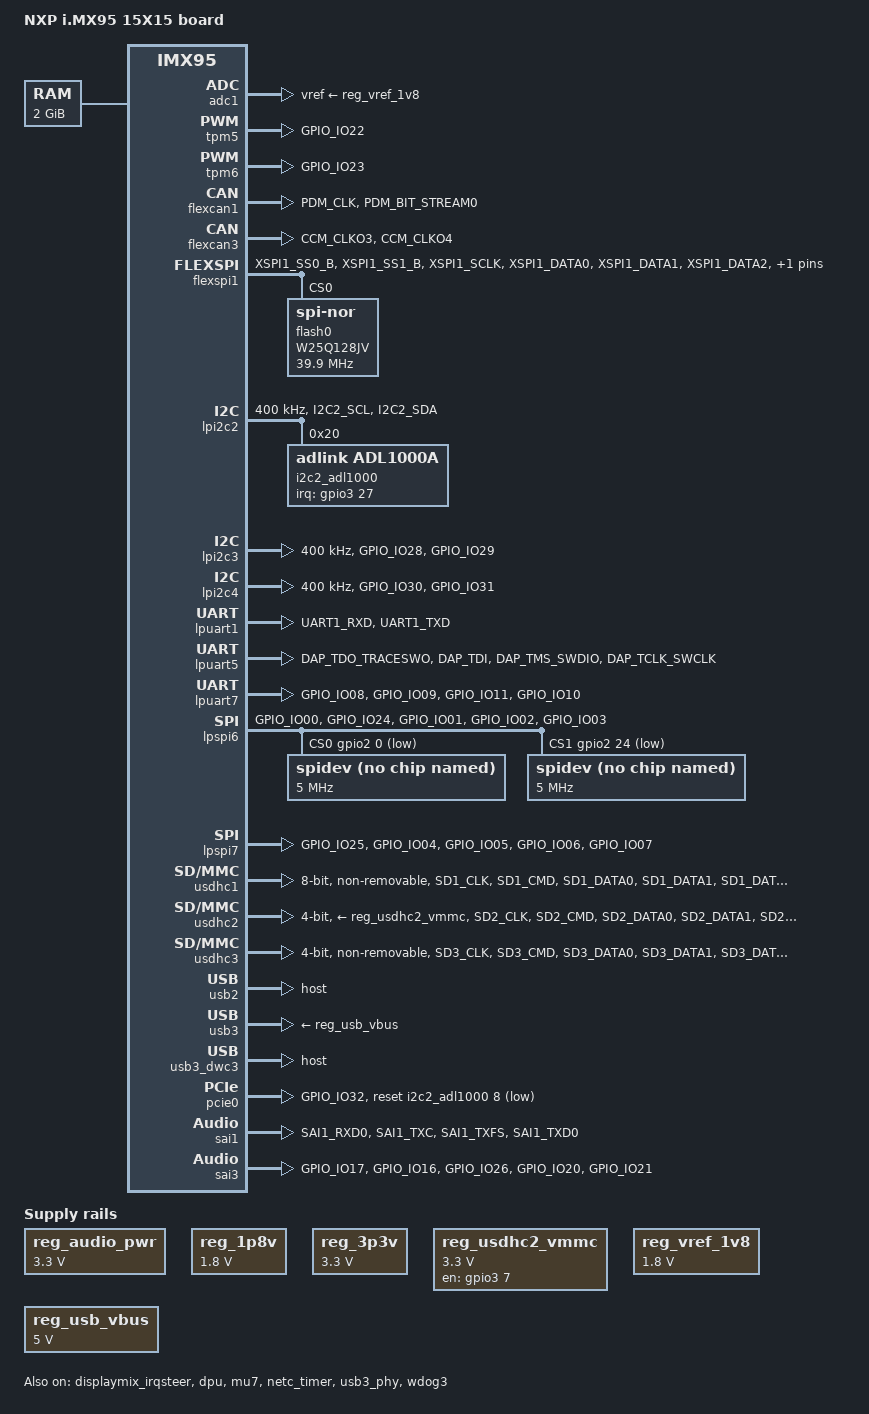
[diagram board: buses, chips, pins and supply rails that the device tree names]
// SPDX-License-Identifier: (GPL-2.0+ OR MIT)
/*
 * Copyright 2024 NXP
 */

/dts-v1/;

#include <dt-bindings/leds/common.h>
#include <dt-bindings/phy/phy-imx8-pcie.h>
#include <dt-bindings/pwm/pwm.h>
#include <dt-bindings/usb/pd.h>
#include "imx95.dtsi"

#define FALLING_EDGE		BIT(0)
#define RISING_EDGE		BIT(1)

//#define BRD_SM_CTRL_SD3_WAKE		0x8000	/*!< PCAL6408A-0 */
#define BRD_SM_CTRL_PCIE1_WAKE		0x8001	/*!< PCAL6408A-4 */
//#define BRD_SM_CTRL_BT_WAKE		0x8002	/*!< PCAL6408A-5 */
//#define BRD_SM_CTRL_PCIE2_WAKE		0x8003	/*!< PCAL6408A-6 */
//#define BRD_SM_CTRL_BUTTON		0x8004	/*!< PCAL6408A-7 */

/ {
	model = "NXP i.MX95 15X15 board";
	compatible = "fsl,imx95-15x15-evk", "fsl,imx95";

	aliases {
		ethernet0 = &enetc_port0;
		ethernet1 = &enetc_port1;
	};

	chosen {
		stdout-path = &lpuart1;
		#address-cells = <2>;
		#size-cells = <2>;
	};
/*
	fan0: pwm-fan {
		compatible = "pwm-fan";
		cooling-min-state = <0>;
		cooling-max-state = <3>;
		#cooling-cells = <2>;
		pwms = <&tpm6 0 4000000 PWM_POLARITY_INVERTED>;
		cooling-levels = <64 128 192 255>;
	};
*/
	memory@80000000 {
		device_type = "memory";
		reg = <0x0 0x80000000 0 0x80000000>;
	};

	reserved-memory {
		#address-cells = <2>;
		#size-cells = <2>;
		ranges;

		linux_cma: linux,cma {
			compatible = "shared-dma-pool";
			reusable;
			size = <0 0x3c000000>;
			alloc-ranges = <0 0x80000000 0 0x7F000000>;
			linux,cma-default;
		};

		vpu_boot: vpu_boot@a0000000 {
			reg = <0 0xa0000000 0 0x100000>;
			no-map;
		};

		vdev0vring0: vdev0vring0@88000000 {
			reg = <0 0x88000000 0 0x8000>;
			no-map;
		};

		vdev0vring1: vdev0vring1@88008000 {
			reg = <0 0x88008000 0 0x8000>;
			no-map;
		};

		vdev1vring0: vdev1vring0@88010000 {
			reg = <0 0x88010000 0 0x8000>;
			no-map;
		};

		vdev1vring1: vdev1vring1@88018000 {
			reg = <0 0x88018000 0 0x8000>;
			no-map;
		};

		rsc_table: rsc-table@88220000 {
			reg = <0 0x88220000 0 0x1000>;
			no-map;
		};

		vdevbuffer: vdevbuffer@88020000 {
			compatible = "shared-dma-pool";
			reg = <0 0x88020000 0 0x100000>;
			no-map;
		};
	};

	reg_audio_pwr: regulator-audio-pwr {
		compatible = "regulator-fixed";
		regulator-name = "audio-pwr";
		regulator-min-microvolt = <3300000>;
		regulator-max-microvolt = <3300000>;
//		gpio = <&pcal6524 13 GPIO_ACTIVE_HIGH>;
		enable-active-high;
		regulator-always-on;
	};

	reg_1p8v: regulator-1p8v {
		compatible = "regulator-fixed";
		regulator-max-microvolt = <1800000>;
		regulator-min-microvolt = <1800000>;
		regulator-name = "+V1.8_SW";
	};

	reg_3p3v: regulator-3p3v {
		compatible = "regulator-fixed";
		regulator-max-microvolt = <3300000>;
		regulator-min-microvolt = <3300000>;
		regulator-name = "+V3.3_SW";
	};

	reg_usdhc2_vmmc: regulator-usdhc2 {
		compatible = "regulator-fixed";
		pinctrl-names = "default";
		pinctrl-0 = <&pinctrl_reg_usdhc2_vmmc>;
		regulator-name = "VDD_SD2_3V3";
		regulator-min-microvolt = <3300000>;
		regulator-max-microvolt = <3300000>;
		gpio = <&gpio3 7 GPIO_ACTIVE_HIGH>;
		off-on-delay-us = <12000>;
		enable-active-high;
	};

	reg_vref_1v8: regulator-adc-vref {
		compatible = "regulator-fixed";
		regulator-name = "vref_1v8";
		regulator-min-microvolt = <1800000>;
		regulator-max-microvolt = <1800000>;
	};

	reg_usb_vbus: regulator-vbus {
		compatible = "regulator-fixed";
		regulator-name = "USB_VBUS";
		regulator-min-microvolt = <5000000>;
		regulator-max-microvolt = <5000000>;
		enable-active-high;
		regulator-always-on;
	};

	cm7: imx95-cm7 {
		compatible = "fsl,imx95-cm7";
		mbox-names = "tx", "rx", "rxdb";
		mboxes = <&mu7 0 1
			  &mu7 1 1
			  &mu7 3 1>;
		memory-region = <&vdevbuffer>, <&vdev0vring0>, <&vdev0vring1>,
				<&vdev1vring0>, <&vdev1vring1>, <&rsc_table>;
		fsl,startup-delay-ms = <50>;
		status = "okay";
	};

};

&adc1 {
	vref-supply = <&reg_vref_1v8>;
	status = "okay";
};

&displaymix_irqsteer {
	status = "okay";
};

&dpu {
	status = "okay";
};

&tpm5 {
	pinctrl-names = "default";
	pinctrl-0 = <&pinctrl_tpm5>;
	pwm-rst;
	status = "okay";
};

&tpm6 {
	pinctrl-names = "default";
	pinctrl-0 = <&pinctrl_tpm6>;
	pwm-rst;
	status = "okay";
};

//OSM CAN_A
&flexcan1 {
	pinctrl-names = "default";
	pinctrl-0 = <&pinctrl_flexcan1>;
	status = "okay";
};

//OSM CAN_B
&flexcan3 {
	pinctrl-names = "default";
	pinctrl-0 = <&pinctrl_flexcan3>;
	status = "okay";
};
//OSM SPI_A
&flexspi1 {
	pinctrl-names = "default", "sleep";
	pinctrl-0 = <&pinctrl_flexspi1>;
	pinctrl-1 = <&pinctrl_flexspi1>;
	status = "okay";

	flash0: W25Q128JV@0 {
		reg = <0>;
		#address-cells = <1>;
		#size-cells = <1>;
		compatible = "jedec,spi-nor";
		spi-max-frequency = <39900000>;
		//spi-max-frequency = <3990000>;
		spi-tx-bus-width = <4>;
		spi-rx-bus-width = <4>;
	};	
};

&lpi2c2 {
	#address-cells = <1>;
	#size-cells = <0>;
	clock-frequency = <400000>;
	pinctrl-names = "default";
	pinctrl-0 = <&pinctrl_lpi2c2>;
	status = "okay";

	//U1701
	i2c2_adl1000: i2c2_adl1000@20 {
		compatible = "adlink,adl1000a";//16 pin
		pinctrl-names = "default";
		//interrupt pin A3, A4, B0, B1, B2, B5, B6, B10, B11, B12, B13, B14, B15
		//INT : PC2 , SCL : PB8 , SDA : PB9
		/* GPIO Expander  Mapping :
		 * - 0: PA2 		GPIO_B2_1V8			=>			OSM F19 GPIO_B_2
		 * - 1: PA3 		GPIO_B3_1V8			=>			OSM G19 GPIO_B_3
		 * - 2: PA4			GPIO_B4_1V8			=>			OSM H19 GPIO_B_4
		 * - 3: PA7 		GPIO_B5_1V8			=>			OSM J19 GPIO_B_5
		 * - 4: PA8 		GPIO_B6_1V8			=>			OSM K19 GPIO_B_6
		 * - 5: PA9 		GPIO_B7_1V8			=>			OSM L19 GPIO_B_7
		 * - 6: x
		 * - 7: x

		 * - 8: PB5 		PCIEA_RST#_1V8	    => 			OSM V2 PCIe_A_PERST
		 * - 9: PB6 		USB_A_EN_1V8		=>			OSM AC16 USB_A_EN
		 * - 10: PB10 		DSI_VDD_EN_1V8		=>			OSM F3 DISP_VDD_EN/GPIO_C_4
		 * - 11: PB11 		DSI_BL_EN_1V8		=> 			OSM F4 DISP_BL_EN/GPIO_C_5
		 * - 12: PB12 		CSI1_PWR_1V8		=> 			OSM G3 CAM_A_PWR/GPIO_C_6
		 * - 13: PB13 		CSI1_RST_1V8		=>  		OSM G4 CAM_A_RST/GPIO_C_7
		 * - 14: PB14 		LVDS0_VDD_EN_1V8	=>			OSM AN14 LVDS_VDD_EN
		 * - 15: PB15 		LVDS0_BKLT_EN_1V8	=>			OSM AN23 LVDS_BL_EN

		 * - 16: x
		 * - 17: x
		 * - 18: x
		 * - 19: x
		 * - 20: x
		 * - 21: x
		 * - 22: x
		 * - 23: x
		 */
		pinctrl-0 = <&pinctrl_i2c2_adl1000>, <&pinctrl_system_gpio>;
		reg = <0x20>;
		#gpio-cells = <2>;		
		gpio-controller;
		#interrupt-cells = <2>;
		interrupt-controller;
		interrupt-parent = <&gpio3>;
		interrupts = <27 IRQ_TYPE_EDGE_FALLING>; // MCU_INTB#_1V8 , PC2
	};
};
//OSM I2C_A
&lpi2c3 {
	#address-cells = <1>;
	#size-cells = <0>;
	clock-frequency = <400000>;
	pinctrl-names = "default";
	pinctrl-0 = <&pinctrl_lpi2c3>;
	status = "okay";




};
//OSM I2C_B
&lpi2c4 {
	#address-cells = <1>;
	#size-cells = <0>;
	clock-frequency = <400000>;
	pinctrl-names = "default";
	pinctrl-0 = <&pinctrl_lpi2c4>;
	status = "okay";

};

&lpuart1 {
	/* console */
	pinctrl-names = "default";
	pinctrl-0 = <&pinctrl_uart1>;
	status = "okay";
};
//EB4 UART_C
&lpuart2 {
	pinctrl-names = "default";
	pinctrl-0 = <&pinctrl_uart2>;
	status = "disabled";
};
//EB$ UART_D
&lpuart3 {
	pinctrl-names = "default";
	pinctrl-0 = <&pinctrl_uart3>;
	status = "disabled";
};
//EB4 UART_B
&lpuart5 {
	pinctrl-names = "default";
	pinctrl-0 = <&pinctrl_uart5>;
	status = "okay";
};

//EB4 UART_A , 88w8997-bt
&lpuart7 {
	/* BT */
	pinctrl-names = "default";
	pinctrl-0 = <&pinctrl_uart7>;
	status = "okay";
};

//OSM SPI_B
&lpspi6 {
	fsl,spi-num-chipselects = <2>;
	pinctrl-names = "default", "sleep";
	pinctrl-0 = <&pinctrl_lpspi6>;
	pinctrl-1 = <&pinctrl_lpspi6>;
	cs-gpios = <&gpio2 0 GPIO_ACTIVE_LOW>,<&gpio2 24 GPIO_ACTIVE_LOW>;
	status = "okay";
        spidev@0 {
                compatible = "rohm,dh2228fv";
                spi-max-frequency = <5000000>;
                reg = <0>;
        };
        spidev@1 {
                compatible = "rohm,dh2228fv";
                spi-max-frequency = <5000000>;
                reg = <1>;
	};

};

//OSM SPI_C
&lpspi7 {
	fsl,spi-num-chipselects = <2>;
	pinctrl-names = "default", "sleep";
	pinctrl-0 = <&pinctrl_lpspi7>;
	pinctrl-1 = <&pinctrl_lpspi7>;
	cs-gpios = <&gpio2 4 GPIO_ACTIVE_LOW>,<&gpio2 25 GPIO_ACTIVE_LOW>;
	status = "okay";

};

&mu7 {
	status = "okay";
};
//U1301 PTE7ADTO-64GI EMMC
&usdhc1 {
	pinctrl-names = "default", "state_100mhz", "state_200mhz", "sleep";
	pinctrl-0 = <&pinctrl_usdhc1>;
	pinctrl-1 = <&pinctrl_usdhc1_100mhz>;
	pinctrl-2 = <&pinctrl_usdhc1_200mhz>;
	pinctrl-3 = <&pinctrl_usdhc1>;
	bus-width = <8>;
	non-removable;
	no-sdio;
	no-sd;
	status = "okay";
};
//sdio_a , sd card
&usdhc2 {
	pinctrl-names = "default", "state_100mhz", "state_200mhz", "sleep";
	pinctrl-0 = <&pinctrl_usdhc2>, <&pinctrl_usdhc2_gpio>;
	pinctrl-1 = <&pinctrl_usdhc2_100mhz>, <&pinctrl_usdhc2_gpio>;
	pinctrl-2 = <&pinctrl_usdhc2_200mhz>, <&pinctrl_usdhc2_gpio>;
	pinctrl-3 = <&pinctrl_usdhc2>, <&pinctrl_usdhc2_gpio>;
	cd-gpios = <&gpio3 00 GPIO_ACTIVE_LOW>;
	fsl,cd-gpio-wakeup-disable;
	//wp-gpios = <&gpio5 8 GPIO_ACTIVE_HIGH>;
	vmmc-supply = <&reg_usdhc2_vmmc>;
	bus-width = <4>;
	status = "okay";
};
//sdio_b , EB4: wifi aw-cm276nf
&usdhc3 {
	#address-cells = <1>;
	#size-cells = <0>;
	pinctrl-names = "default", "state_100mhz", "state_200mhz", "sleep";
	pinctrl-0 = <&pinctrl_usdhc3>;
	pinctrl-1 = <&pinctrl_usdhc3_100mhz>;
	pinctrl-2 = <&pinctrl_usdhc3_200mhz>;
	pinctrl-3 = <&pinctrl_usdhc3>;

	//vmmc-supply = <&reg_usdhc3_vmmc>;
	bus-width = <4>;
	keep-power-in-suspend;
	non-removable;
	wakeup-source;
	status = "okay";
};

&pcie_4ca00000 {
	msi-map = <0x0 &its 0x60 0x1>,	//ENETC0 PF
		  <0x10 &its 0x61 0x1>, //ENETC0 VF0
		  <0x20 &its 0x62 0x1>, //ENETC0 VF1
		  <0x40 &its 0x63 0x1>, //ENETC1 PF
		  <0x50 &its 0x65 0x1>, //ENETC1 VF0
		  <0x60 &its 0x66 0x1>, //ENETC1 VF1
		  <0x80 &its 0x64 0x1>, //ENETC2 PF
		  <0xc0 &its 0x67 0x1>; //NETC Timer
};

&netc_timer {
	status = "okay";
};

&netc_prb_ierb {
	netc-interfaces = <NXP_NETC_RGMII
			   NXP_NETC_RGMII
			   NXP_NETC_SERIAL>;
};

&usb2 {
	dr_mode = "host";
	disable-over-current;
	status = "okay";
};

&usb3 {
	vbus-supply = <&reg_usb_vbus>;
	status = "okay";
};

&usb3_phy {
	fsl,phy-pcs-tx-deemph-3p5db-attenuation-db = <17>;
	fsl,phy-pcs-tx-swing-full-percent = <100>;
	fsl,phy-tx-preemp-amp-tune-microamp = <600>;
	fsl,phy-tx-vboost-level-microvolt = <1156>;
	status = "okay";
};

&usb3_dwc3 {
	dr_mode = "host";
	hnp-disable;
	srp-disable;
	adp-disable;
	usb-role-switch;
	role-switch-default-mode = "none";
	snps,dis-u1-entry-quirk;
	snps,dis-u2-entry-quirk;
	status = "okay";
};

&scmi_misc {
	wakeup-sources = <BRD_SM_CTRL_PCIE1_WAKE		1>;
};

&scmi_iomuxc {

	pinctrl_tpm5: tpm5grp {
		fsl,pins = <
			IMX95_PAD_GPIO_IO22__TPM5_CH1			0x51e
		>;
	};

	pinctrl_tpm6: tpm6grp {
		fsl,pins = <
			IMX95_PAD_GPIO_IO23__TPM6_CH1			0x51e
		>;
	};

	pinctrl_flexcan1: flexcan1grp {
		fsl,pins = <
			IMX95_PAD_PDM_CLK__AONMIX_TOP_CAN1_TX		0x39e
			IMX95_PAD_PDM_BIT_STREAM0__AONMIX_TOP_CAN1_RX	0x39e
		>;
	};

	pinctrl_flexcan3: flexcan3grp {
		fsl,pins = <
			IMX95_PAD_CCM_CLKO3__CAN3_TX		0x39e
			IMX95_PAD_CCM_CLKO4__CAN3_RX	0x39e
		>;
	};

	pinctrl_i2c2_adl1000: i2c2adl1000grp {
		fsl,pins = <
			IMX95_PAD_CCM_CLKO2__GPIO3_IO_BIT27			0x1fe	//not pull down,not pull up ,Fast slew rate, drive X6
		>;
	};
	pinctrl_system_gpio: i2c2systemgrp {
		fsl,pins = <
			//GPIO_A0_1V8
			IMX95_PAD_GPIO_IO18__GPIO2_IO_BIT18				0x1fe	//not pull down,not pull up ,Fast slew rate, drive X6
			//GPIO_A1_1V8
			IMX95_PAD_GPIO_IO19__GPIO2_IO_BIT19				0x1fe	//not pull down,not pull up ,Fast slew rate, drive X6
			//GPIO_A2_1V8
			IMX95_PAD_GPIO_IO33__GPIO5_IO_BIT13				0x1fe	//not pull down,not pull up ,Fast slew rate, drive X6
			//GPIO_A3_1V8
			IMX95_PAD_GPIO_IO34__GPIO5_IO_BIT14				0x1fe	//not pull down,not pull up ,Fast slew rate, drive X6
			//GPIO_A4_1V8
			IMX95_PAD_XSPI1_DATA4__GPIO5_IO_BIT4			0x1fe	//not pull down,not pull up ,Fast slew rate, drive X6
			//GPIO_A5_1V8
			IMX95_PAD_XSPI1_DATA5__GPIO5_IO_BIT5			0x1fe	//not pull down,not pull up ,Fast slew rate, drive X6
			//GPIO_B0_1V8
			IMX95_PAD_XSPI1_DATA6__GPIO5_IO_BIT6			0x1fe	//not pull down,not pull up ,Fast slew rate, drive X6
			//GPIO_B1_1V8
			IMX95_PAD_XSPI1_DATA7__GPIO5_IO_BIT7			0x1fe	//not pull down,not pull up ,Fast slew rate, drive X6
			//USB1_OC#_1V8
			IMX95_PAD_ENET2_MDC__GPIO4_IO_BIT14				0x1fe	//not pull down,not pull up ,Fast slew rate, drive X6
			//USB2_OC#_1V8
			IMX95_PAD_ENET2_MDIO__GPIO4_IO_BIT15			0x1fe	//not pull down,not pull up ,Fast slew rate, drive X6
		>;
	};	

	pinctrl_lpi2c1: lpi2c1grp {
		fsl,pins = <
			IMX95_PAD_I2C1_SCL__AONMIX_TOP_LPI2C1_SCL	0x40000b9e
			IMX95_PAD_I2C1_SDA__AONMIX_TOP_LPI2C1_SDA	0x40000b9e
		>;
	};

	pinctrl_lpi2c2: lpi2c2grp {
		fsl,pins = <
			IMX95_PAD_I2C2_SCL__AONMIX_TOP_LPI2C2_SCL	0x40000b9e
			IMX95_PAD_I2C2_SDA__AONMIX_TOP_LPI2C2_SDA	0x40000b9e
		>;
	};

	pinctrl_lpi2c3: lpi2c3grp {
		fsl,pins = <
			IMX95_PAD_GPIO_IO28__LPI2C3_SDA			0x40000b9e
			IMX95_PAD_GPIO_IO29__LPI2C3_SCL			0x40000b9e
		>;
	};

	pinctrl_lpi2c4: lpi2c4grp {
		fsl,pins = <
			IMX95_PAD_GPIO_IO30__LPI2C4_SDA			0x40000b9e
			IMX95_PAD_GPIO_IO31__LPI2C4_SCL			0x40000b9e
		>;
	};

	pinctrl_uart1: uart1grp {
		fsl,pins = <
			IMX95_PAD_UART1_RXD__AONMIX_TOP_LPUART1_RX      0x31e
			IMX95_PAD_UART1_TXD__AONMIX_TOP_LPUART1_TX      0x31e
		>;
	};

	pinctrl_uart2: uart2grp {
		fsl,pins = <
			IMX95_PAD_UART2_RXD__AONMIX_TOP_LPUART2_RX      0x31e
			IMX95_PAD_UART2_TXD__AONMIX_TOP_LPUART2_TX      0x31e
		>;
	};

	pinctrl_uart3: uart3grp {
		fsl,pins = <
			IMX95_PAD_GPIO_IO15__LPUART3_RX      0x31e
			IMX95_PAD_GPIO_IO14__LPUART3_TX      0x31e
		>;
	};

	pinctrl_uart5: uart5grp {
		fsl,pins = <
			IMX95_PAD_DAP_TDO_TRACESWO__LPUART5_TX			0x31e
			IMX95_PAD_DAP_TDI__LPUART5_RX				0x31e
			IMX95_PAD_DAP_TMS_SWDIO__LPUART5_RTS_B			0x31e
			IMX95_PAD_DAP_TCLK_SWCLK__LPUART5_CTS_B			0x31e
		>;
	};
	
	pinctrl_uart7: uart7grp {
		fsl,pins = <
			IMX95_PAD_GPIO_IO08__LPUART7_TX			0x31e
			IMX95_PAD_GPIO_IO09__LPUART7_RX				0x31e
			IMX95_PAD_GPIO_IO11__LPUART7_RTS_B			0x31e
			IMX95_PAD_GPIO_IO10__LPUART7_CTS_B			0x31e
		>;
	};	

	pinctrl_enetc0: enetc0grp {
		fsl,pins = <
			IMX95_PAD_ENET1_TD3__NETCMIX_TOP_ETH0_RGMII_TD3		0x57e
			IMX95_PAD_ENET1_TD2__NETCMIX_TOP_ETH0_RGMII_TD2		0x57e
			IMX95_PAD_ENET1_TD1__NETCMIX_TOP_ETH0_RGMII_TD1		0x57e
			IMX95_PAD_ENET1_TD0__NETCMIX_TOP_ETH0_RGMII_TD0		0x57e
			IMX95_PAD_ENET1_TX_CTL__NETCMIX_TOP_ETH0_RGMII_TX_CTL	0x57e
			IMX95_PAD_ENET1_TXC__NETCMIX_TOP_ETH0_RGMII_TX_CLK	0x58e
			IMX95_PAD_ENET1_RX_CTL__NETCMIX_TOP_ETH0_RGMII_RX_CTL	0x57e
			IMX95_PAD_ENET1_RXC__NETCMIX_TOP_ETH0_RGMII_RX_CLK	0x58e
			IMX95_PAD_ENET1_RD0__NETCMIX_TOP_ETH0_RGMII_RD0		0x57e
			IMX95_PAD_ENET1_RD1__NETCMIX_TOP_ETH0_RGMII_RD1		0x57e
			IMX95_PAD_ENET1_RD2__NETCMIX_TOP_ETH0_RGMII_RD2		0x57e
			IMX95_PAD_ENET1_RD3__NETCMIX_TOP_ETH0_RGMII_RD3		0x57e
		>;
	};

	pinctrl_enetc1: enetc1grp {
		fsl,pins = <
			IMX95_PAD_ENET2_TD3__NETCMIX_TOP_ETH1_RGMII_TD3		0x57e
			IMX95_PAD_ENET2_TD2__NETCMIX_TOP_ETH1_RGMII_TD2		0x57e
			IMX95_PAD_ENET2_TD1__NETCMIX_TOP_ETH1_RGMII_TD1		0x57e
			IMX95_PAD_ENET2_TD0__NETCMIX_TOP_ETH1_RGMII_TD0		0x57e
			IMX95_PAD_ENET2_TX_CTL__NETCMIX_TOP_ETH1_RGMII_TX_CTL	0x57e
			IMX95_PAD_ENET2_TXC__NETCMIX_TOP_ETH1_RGMII_TX_CLK	0x58e
			IMX95_PAD_ENET2_RX_CTL__NETCMIX_TOP_ETH1_RGMII_RX_CTL	0x57e
			IMX95_PAD_ENET2_RXC__NETCMIX_TOP_ETH1_RGMII_RX_CLK	0x58e
			IMX95_PAD_ENET2_RD0__NETCMIX_TOP_ETH1_RGMII_RD0		0x57e
			IMX95_PAD_ENET2_RD1__NETCMIX_TOP_ETH1_RGMII_RD1		0x57e
			IMX95_PAD_ENET2_RD2__NETCMIX_TOP_ETH1_RGMII_RD2		0x57e
			IMX95_PAD_ENET2_RD3__NETCMIX_TOP_ETH1_RGMII_RD3		0x57e
		>;
	};

	pinctrl_flexspi1: flexspi1grp {
		fsl,pins = <
			IMX95_PAD_XSPI1_SS0_B__FLEXSPI1_A_SS0_B			0x3fe
			IMX95_PAD_XSPI1_SS1_B__FLEXSPI1_A_SS1_B			0x3fe
			IMX95_PAD_XSPI1_SCLK__FLEXSPI1_A_SCLK			0x3fe
			IMX95_PAD_XSPI1_DATA0__FLEXSPI1_A_DATA_BIT0		0x3fe
			IMX95_PAD_XSPI1_DATA1__FLEXSPI1_A_DATA_BIT1		0x3fe
			IMX95_PAD_XSPI1_DATA2__FLEXSPI1_A_DATA_BIT2		0x3fe
			IMX95_PAD_XSPI1_DATA3__FLEXSPI1_A_DATA_BIT3		0x3fe
		>;
	};

	pinctrl_emdio: emdiogrp {
		fsl,pins = <
			IMX95_PAD_ENET1_MDC__NETCMIX_TOP_NETC_MDC		0x57e
			IMX95_PAD_ENET1_MDIO__NETCMIX_TOP_NETC_MDIO		0x97e
		>;
	};

	pinctrl_mipi_dsi_csi: mipidsigrp {
		fsl,pins = <
			IMX95_PAD_XSPI1_DATA6__GPIO5_IO_BIT6			0x31e
		>;
	};

	pinctrl_pcie0: pcie0grp {
		fsl,pins = <
			IMX95_PAD_GPIO_IO32__HSIOMIX_TOP_PCIE1_CLKREQ_B		0x40000b1e
		>;
	};

	pinctrl_lpspi6: lpspi6grp {
		fsl,pins = <
			IMX95_PAD_GPIO_IO00__GPIO2_IO_BIT0	0x1fe	//not pull down,not pull up ,Fast slew rate, drive X6
			IMX95_PAD_GPIO_IO24__GPIO2_IO_BIT24	0x1fe	//not pull down,not pull up ,Fast slew rate, drive X6
			IMX95_PAD_GPIO_IO01__LPSPI6_SIN		0x3fe
			IMX95_PAD_GPIO_IO02__LPSPI6_SOUT	0x3fe
			IMX95_PAD_GPIO_IO03__LPSPI6_SCK		0x3fe
		>;
	};
	pinctrl_lpspi7: lpspi7grp {
		fsl,pins = <
			IMX95_PAD_GPIO_IO25__GPIO2_IO_BIT25	0x1fe	//not pull down,not pull up ,Fast slew rate, drive X6
			IMX95_PAD_GPIO_IO04__GPIO2_IO_BIT4	0x1fe	//not pull down,not pull up ,Fast slew rate, drive X6
			IMX95_PAD_GPIO_IO05__LPSPI7_SIN		0x3fe
			IMX95_PAD_GPIO_IO06__LPSPI7_SOUT	0x3fe
			IMX95_PAD_GPIO_IO07__LPSPI7_SCK		0x3fe
		>;
	};

	pinctrl_sai1: sai1grp {
		fsl,pins = <
			IMX95_PAD_SAI1_RXD0__AONMIX_TOP_SAI1_RX_DATA_BIT0    0x31e
			IMX95_PAD_SAI1_TXC__AONMIX_TOP_SAI1_TX_BCLK      0x31e
			IMX95_PAD_SAI1_TXFS__AONMIX_TOP_SAI1_TX_SYNC     0x31e
			IMX95_PAD_SAI1_TXD0__AONMIX_TOP_SAI1_TX_DATA_BIT0    0x31e
		>;
	};

	pinctrl_sai3: sai3grp {
		fsl,pins = <
			IMX95_PAD_GPIO_IO17__SAI3_MCLK				0x31e
			IMX95_PAD_GPIO_IO16__SAI3_TX_BCLK			0x31e
			IMX95_PAD_GPIO_IO26__SAI3_TX_SYNC			0x31e
			IMX95_PAD_GPIO_IO20__SAI3_RX_DATA_BIT0			0x31e
			IMX95_PAD_GPIO_IO21__SAI3_TX_DATA_BIT0			0x31e
		>;
	};

	pinctrl_usdhc1: usdhc1grp {
		fsl,pins = <
			IMX95_PAD_SD1_CLK__USDHC1_CLK				0x158e
			IMX95_PAD_SD1_CMD__USDHC1_CMD				0x138e
			IMX95_PAD_SD1_DATA0__USDHC1_DATA0			0x138e
			IMX95_PAD_SD1_DATA1__USDHC1_DATA1			0x138e
			IMX95_PAD_SD1_DATA2__USDHC1_DATA2			0x138e
			IMX95_PAD_SD1_DATA3__USDHC1_DATA3			0x138e
			IMX95_PAD_SD1_DATA4__USDHC1_DATA4			0x138e
			IMX95_PAD_SD1_DATA5__USDHC1_DATA5			0x138e
			IMX95_PAD_SD1_DATA6__USDHC1_DATA6			0x138e
			IMX95_PAD_SD1_DATA7__USDHC1_DATA7			0x138e
			IMX95_PAD_SD1_STROBE__USDHC1_STROBE			0x158e
		>;
	};

	pinctrl_usdhc1_100mhz: usdhc1-100mhzgrp {
		fsl,pins = <
			IMX95_PAD_SD1_CLK__USDHC1_CLK				0x158e
			IMX95_PAD_SD1_CMD__USDHC1_CMD				0x138e
			IMX95_PAD_SD1_DATA0__USDHC1_DATA0			0x138e
			IMX95_PAD_SD1_DATA1__USDHC1_DATA1			0x138e
			IMX95_PAD_SD1_DATA2__USDHC1_DATA2			0x138e
			IMX95_PAD_SD1_DATA3__USDHC1_DATA3			0x138e
			IMX95_PAD_SD1_DATA4__USDHC1_DATA4			0x138e
			IMX95_PAD_SD1_DATA5__USDHC1_DATA5			0x138e
			IMX95_PAD_SD1_DATA6__USDHC1_DATA6			0x138e
			IMX95_PAD_SD1_DATA7__USDHC1_DATA7			0x138e
			IMX95_PAD_SD1_STROBE__USDHC1_STROBE			0x158e
		>;
	};

	pinctrl_usdhc1_200mhz: usdhc1-200mhzgrp {
		fsl,pins = <
			IMX95_PAD_SD1_CLK__USDHC1_CLK				0x15fe
			IMX95_PAD_SD1_CMD__USDHC1_CMD				0x13fe
			IMX95_PAD_SD1_DATA0__USDHC1_DATA0			0x13fe
			IMX95_PAD_SD1_DATA1__USDHC1_DATA1			0x13fe
			IMX95_PAD_SD1_DATA2__USDHC1_DATA2			0x13fe
			IMX95_PAD_SD1_DATA3__USDHC1_DATA3			0x13fe
			IMX95_PAD_SD1_DATA4__USDHC1_DATA4			0x13fe
			IMX95_PAD_SD1_DATA5__USDHC1_DATA5			0x13fe
			IMX95_PAD_SD1_DATA6__USDHC1_DATA6			0x13fe
			IMX95_PAD_SD1_DATA7__USDHC1_DATA7			0x13fe
			IMX95_PAD_SD1_STROBE__USDHC1_STROBE			0x15fe
		>;
	};

	pinctrl_reg_usdhc2_vmmc: regusdhc2vmmcgrp {
		fsl,pins = <
			IMX95_PAD_SD2_RESET_B__GPIO3_IO_BIT7			0x31e
		>;
	};

	pinctrl_usdhc2_gpio: usdhc2gpiogrp {
		fsl,pins = <
			IMX95_PAD_SD2_CD_B__GPIO3_IO_BIT0			0x31e
			IMX95_PAD_XSPI1_DQS__GPIO5_IO_BIT8			0x1fe	//not pull down,not pull up ,Fast slew rate, drive X6
		>;
	};

	pinctrl_usdhc2: usdhc2grp {
		fsl,pins = <
			IMX95_PAD_SD2_CLK__USDHC2_CLK				0x158e
			IMX95_PAD_SD2_CMD__USDHC2_CMD				0x138e
			IMX95_PAD_SD2_DATA0__USDHC2_DATA0			0x138e
			IMX95_PAD_SD2_DATA1__USDHC2_DATA1			0x138e
			IMX95_PAD_SD2_DATA2__USDHC2_DATA2			0x138e
			IMX95_PAD_SD2_DATA3__USDHC2_DATA3			0x138e
			IMX95_PAD_SD2_VSELECT__USDHC2_VSELECT			0x51e
		>;
	};

	pinctrl_usdhc2_100mhz: usdhc2-100mhzgrp {
		fsl,pins = <
			IMX95_PAD_SD2_CLK__USDHC2_CLK				0x158e
			IMX95_PAD_SD2_CMD__USDHC2_CMD				0x138e
			IMX95_PAD_SD2_DATA0__USDHC2_DATA0			0x138e
			IMX95_PAD_SD2_DATA1__USDHC2_DATA1			0x138e
			IMX95_PAD_SD2_DATA2__USDHC2_DATA2			0x138e
			IMX95_PAD_SD2_DATA3__USDHC2_DATA3			0x138e
			IMX95_PAD_SD2_VSELECT__USDHC2_VSELECT			0x51e
		>;
	};

	pinctrl_usdhc2_200mhz: usdhc2-200mhzgrp {
		fsl,pins = <
			IMX95_PAD_SD2_CLK__USDHC2_CLK				0x15fe
			IMX95_PAD_SD2_CMD__USDHC2_CMD				0x13fe
			IMX95_PAD_SD2_DATA0__USDHC2_DATA0			0x13fe
			IMX95_PAD_SD2_DATA1__USDHC2_DATA1			0x13fe
			IMX95_PAD_SD2_DATA2__USDHC2_DATA2			0x13fe
			IMX95_PAD_SD2_DATA3__USDHC2_DATA3			0x13fe
			IMX95_PAD_SD2_VSELECT__USDHC2_VSELECT			0x51e
		>;
	};

	pinctrl_usdhc3_pwrseq: usdhc3pwrseq {
		fsl,pins = <
			IMX95_PAD_XSPI1_SCLK__GPIO5_IO_BIT9			0x31e
		>;
	};

	pinctrl_usdhc3: usdhc3grp {
		fsl,pins = <
			IMX95_PAD_SD3_CLK__USDHC3_CLK				0x158e
			IMX95_PAD_SD3_CMD__USDHC3_CMD				0x138e
			IMX95_PAD_SD3_DATA0__USDHC3_DATA0			0x138e
			IMX95_PAD_SD3_DATA1__USDHC3_DATA1			0x138e
			IMX95_PAD_SD3_DATA2__USDHC3_DATA2			0x138e
			IMX95_PAD_SD3_DATA3__USDHC3_DATA3			0x138e
		>;
	};

	pinctrl_usdhc3_100mhz: usdhc3-100mhzgrp {
		fsl,pins = <
			IMX95_PAD_SD3_CLK__USDHC3_CLK				0x158e
			IMX95_PAD_SD3_CMD__USDHC3_CMD				0x138e
			IMX95_PAD_SD3_DATA0__USDHC3_DATA0			0x138e
			IMX95_PAD_SD3_DATA1__USDHC3_DATA1			0x138e
			IMX95_PAD_SD3_DATA2__USDHC3_DATA2			0x138e
			IMX95_PAD_SD3_DATA3__USDHC3_DATA3			0x138e
		>;
	};

	pinctrl_usdhc3_200mhz: usdhc3-200mhzgrp {
		fsl,pins = <
			IMX95_PAD_SD3_CLK__USDHC3_CLK				0x15fe
			IMX95_PAD_SD3_CMD__USDHC3_CMD				0x13fe
			IMX95_PAD_SD3_DATA0__USDHC3_DATA0			0x13fe
			IMX95_PAD_SD3_DATA1__USDHC3_DATA1			0x13fe
			IMX95_PAD_SD3_DATA2__USDHC3_DATA2			0x13fe
			IMX95_PAD_SD3_DATA3__USDHC3_DATA3			0x13fe
		>;
	};
};
//OSM PCIe_A
&pcie0 {
	pinctrl-0 = <&pinctrl_pcie0>;
	pinctrl-names = "default";
	fsl,refclk-pad-mode = <IMX8_PCIE_REFCLK_PAD_OUTPUT>;
	//PCIEA_RST#_1V8
	reset-gpio = <&i2c2_adl1000 8 GPIO_ACTIVE_LOW>;
	status = "okay";
};

&vpuctrl {
	boot = <&vpu_boot>;
	sram = <&sram1>;
};

&wdog3 {
	status = "okay";
};
//I2S_B
&sai1 {
	#sound-dai-cells = <0>;
	pinctrl-names = "default";
	pinctrl-0 = <&pinctrl_sai1>;
	assigned-clocks = <&scmi_clk IMX95_CLK_AUDIOPLL1_VCO>,
			  <&scmi_clk IMX95_CLK_AUDIOPLL2_VCO>,
			  <&scmi_clk IMX95_CLK_AUDIOPLL1>,
			  <&scmi_clk IMX95_CLK_AUDIOPLL2>,
			  <&scmi_clk IMX95_CLK_SAI1>;
	assigned-clock-parents = <0>, <0>, <0>, <0>,
				 <&scmi_clk IMX95_CLK_AUDIOPLL1>;
	assigned-clock-rates = <3932160000>,
			       <3612672000>, <393216000>,
			       <361267200>, <12288000>;
	fsl,sai-mclk-direction-output;
	status = "okay";
};
//I2S_A
&sai3 {
	#sound-dai-cells = <0>;
	pinctrl-names = "default";
	pinctrl-0 = <&pinctrl_sai3>;
	assigned-clocks = <&scmi_clk IMX95_CLK_AUDIOPLL1_VCO>,
			  <&scmi_clk IMX95_CLK_AUDIOPLL2_VCO>,
			  <&scmi_clk IMX95_CLK_AUDIOPLL1>,
			  <&scmi_clk IMX95_CLK_AUDIOPLL2>,
			  <&scmi_clk IMX95_CLK_SAI3>;
	assigned-clock-parents = <0>, <0>, <0>, <0>,
				 <&scmi_clk IMX95_CLK_AUDIOPLL1>;
	assigned-clock-rates = <3932160000>,
			       <3612672000>, <393216000>,
			       <361267200>, <12288000>;
	fsl,sai-mclk-direction-output;
	status = "okay";
};


